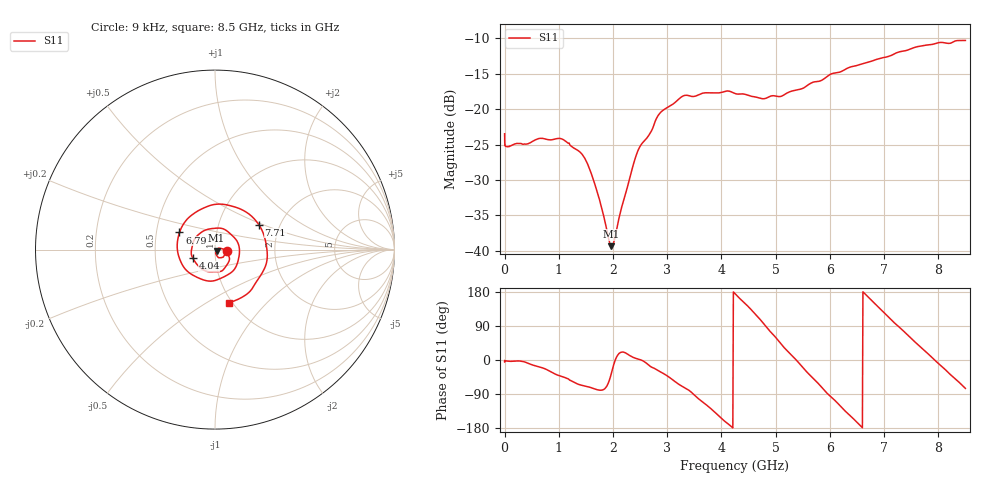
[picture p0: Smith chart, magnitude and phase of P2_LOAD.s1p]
! LibreCAL 5mOUNstcbC0A set FACTORY P2_LOAD
# GHz S RI R 50
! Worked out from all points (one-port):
!   1202 points, 9 kHz to 8.5 GHz, reference 50 ohm
!   lowest |S11| = -39.4 dB at 1.97 GHz (marker M1), VSWR 1.02, Z = 50.9 - j0.629 ohm
!   |S11| at or under -10 dB: start of sweep to end of sweep
!   S11 on the Smith chart (normalised r, x): 9 kHz: 1.14, -0.01; 4.04 GHz: 0.78, -0.07; 6.79 GHz: 0.66, +0.13; 7.71 GHz: 1.56, +0.47; 8.5 GHz: 0.97, -0.63
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9e-06  0.0668 -0.00535
0.0021  0.0583 -0.00432
0.0064  0.0556 -0.00289
0.046  0.0542 -0.00266
1.07  0.0439 -0.0427
1.51  0.0149 -0.0399
1.69  0.00585 -0.0267
1.91  0.00599 -0.0111
1.97  0.00881 -0.00618
2.03  0.0121 -0.000973
2.13  0.0173 0.00607
2.49  0.0538 0.00137
2.86  0.0804 -0.0471
3.19  0.0546 -0.1019
3.65  -0.0453 -0.1213
4.04  -0.124 -0.0471
4.26  -0.1279 0.0138
4.84  0.0111 0.1197
5.32  0.1332 0.0211
5.65  0.1126 -0.103
5.95  0.00602 -0.1704
6.38  -0.1678 -0.1062
6.79  -0.1978 0.0956
7.16  -0.051 0.2369
7.44  0.1107 0.2374
7.71  0.2444 0.1387
8.06  0.2844 -0.0827
8.5  0.0793 -0.2952
